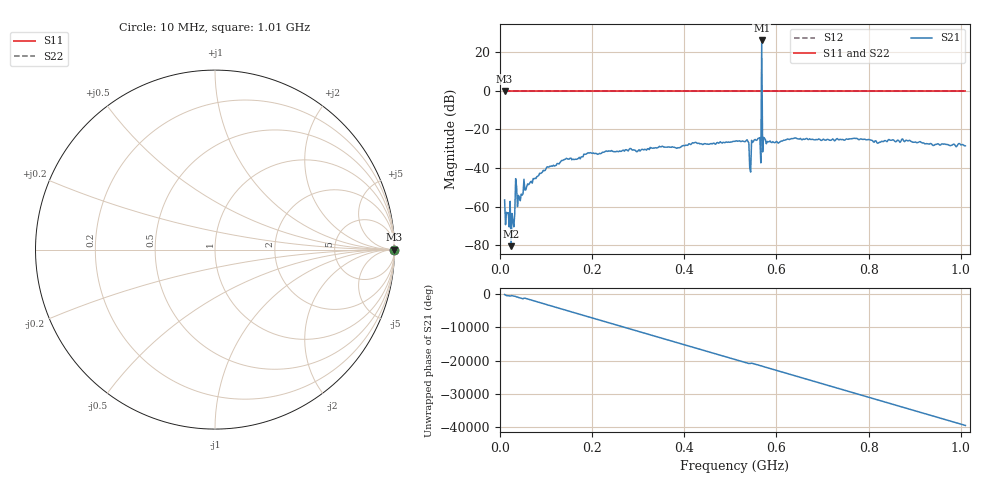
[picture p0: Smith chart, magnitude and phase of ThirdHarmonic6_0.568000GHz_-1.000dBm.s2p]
! 8/15/2025 6:13:17 PM
! C:\ANRITSUVNA\TEMP\TEMP.S2P
! CHANNEL.1
! TR.MEASUREMENT
! RAW.DATA
! RF.CORRECTION.OFF
! AVERAGING.OFF
! IF.BANDWIDTH: 5KHZ
! SWEEPTYPE:  FREQ.SWEEP(Linear)
! Reference Plane Port Info
! PORT:  PORT1  PORT2
! DISTANCE:  0  m  0  m
! TIME:  0  s  0  s
! PHASE.OFFSET:  0  deg.  0  deg.
! LOSS:  0  dB  0  dB
! REF.LOSS:  0  dB  0  dB
! REF.FREQ:  0  Hz  0  Hz
! Power Info
! POWER:  -20  dBm  -20  dBm
! EFF.POWER:  -20  dBm  -20  dBm
! SOURCE.ATTEN:  0  dB  0  dB
! TEST.ATTEN:  0  dB  0  dB
# GHZ S RI R 50.0
! FREQ.GHZ  S11RE  S11IM  S21RE  S21IM  S12RE  S12IM  S22RE  S22IM
!; PortSelection: Port_12
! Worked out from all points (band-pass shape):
!   501 points, 10 MHz to 1.01 GHz, reference 50 ohm
!   highest |S21| = 26.20 dB at 568 MHz (marker M1); lowest = -80.6 dB at 24 MHz (marker M2)
!   |S21| within 3 dB of the highest: 567.9055 MHz to 568.1037 MHz (198.1 kHz wide, 0.0349 % of centre)
!   lowest |S11| = 0.0 dB at 10 MHz (marker M3)
!   |S11| at or under -10 dB: nowhere
!   |S22| runs from 0.0 to 0.0 dB; largest |S21 - S12| = 20
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0.01  1 0  -0.00146 -0.00024  1 0  1 0
0.024  1 0  -9.36e-05 4.2e-06  1 0  1 0
0.028  1 0  -0.000294 0.000313  1 0  1 0
0.03  1 0  0.000105 0.000279  1 0  1 0
0.038  1 0  -0.000904 0.000419  1 0  1 0
0.042  1 0  0.00125 -0.00118  1 0  1 0
0.056  1 0  -0.000331 0.00269  1 0  1 0
0.104  1 0  0.000586 -0.0107  1 0  1 0
0.178  1 0  -0.0196 0.000261  1 0  1 0
0.344  1 0  0.0275 -0.0211  1 0  1 0
0.51  1 0  -0.0198 0.045  1 0  1 0
0.536  1 0  -0.0432 0.0325  1 0  1 0
0.544  1 0  0.00779 0.000905  1 0  1 0
0.55  1 0  0.0273 -0.0406  1 0  1 0
0.562  1 0  -0.0598 -0.000199  1 0  1 0
0.564  1 0  -0.00329 0.0613  1 0  1 0
0.568  1 0  17.82 -9.958  1 0  1 0
0.572  1 0  -0.0353 0.0512  1 0  1 0
0.574  1 0  0.0451 0.0386  1 0  1 0
0.678  1 0  -0.0548 0.0105  1 0  1 0
0.844  1 0  0.0357 -0.0419  1 0  1 0
1.01  1 0  0.00184 0.0375  1 0  1 0
